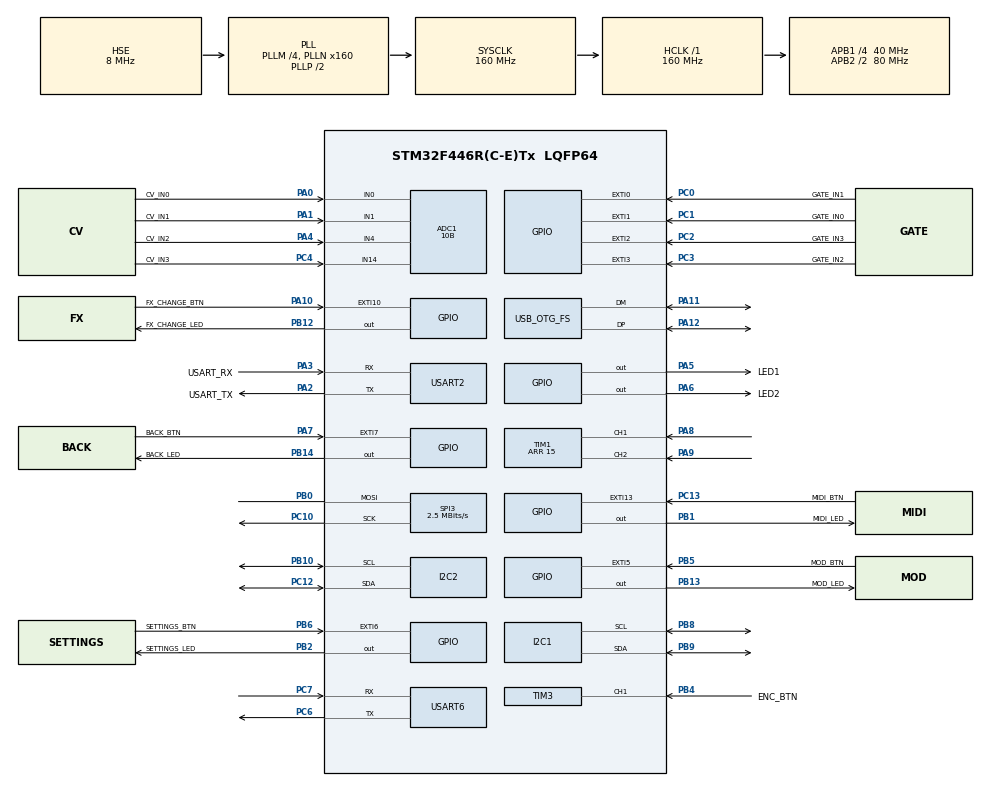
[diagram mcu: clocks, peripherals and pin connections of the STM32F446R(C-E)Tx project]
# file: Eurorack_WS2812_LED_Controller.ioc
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ADC1.Channel-0\#ChannelRegularConversion=ADC_CHANNEL_0
ADC1.Channel-1\#ChannelRegularConversion=ADC_CHANNEL_1
ADC1.Channel-2\#ChannelRegularConversion=ADC_CHANNEL_4
ADC1.Channel-4\#ChannelRegularConversion=ADC_CHANNEL_14
ADC1.EOCSelection=ADC_EOC_SINGLE_CONV
ADC1.NbrOfConversion=4
ADC1.NbrOfConversionFlag=1
ADC1.Rank-0\#ChannelRegularConversion=1
ADC1.Rank-1\#ChannelRegularConversion=2
ADC1.Rank-2\#ChannelRegularConversion=3
ADC1.Rank-4\#ChannelRegularConversion=4
ADC1.Resolution=ADC_RESOLUTION_10B
ADC1.SamplingTime-0\#ChannelRegularConversion=ADC_SAMPLETIME_84CYCLES
ADC1.SamplingTime-1\#ChannelRegularConversion=ADC_SAMPLETIME_84CYCLES
ADC1.SamplingTime-2\#ChannelRegularConversion=ADC_SAMPLETIME_84CYCLES
ADC1.SamplingTime-4\#ChannelRegularConversion=ADC_SAMPLETIME_84CYCLES
ADC1.ScanConvMode=ENABLE
ADC1.master=1
Dma.ADC1.1.Direction=DMA_PERIPH_TO_MEMORY
Dma.ADC1.1.FIFOMode=DMA_FIFOMODE_DISABLE
Dma.ADC1.1.Instance=DMA2_Stream0
Dma.ADC1.1.MemDataAlignment=DMA_MDATAALIGN_HALFWORD
Dma.ADC1.1.MemInc=DMA_MINC_ENABLE
Dma.ADC1.1.Mode=DMA_NORMAL
Dma.ADC1.1.PeriphDataAlignment=DMA_PDATAALIGN_HALFWORD
Dma.ADC1.1.PeriphInc=DMA_PINC_DISABLE
Dma.ADC1.1.Priority=DMA_PRIORITY_LOW
Dma.Request0=SPI3_TX
Dma.Request1=ADC1
Dma.SPI3_TX.0.Direction=DMA_MEMORY_TO_PERIPH
Dma.SPI3_TX.0.FIFOMode=DMA_FIFOMODE_DISABLE
Dma.SPI3_TX.0.Instance=DMA1_Stream5
Dma.SPI3_TX.0.MemDataAlignment=DMA_MDATAALIGN_BYTE
Dma.SPI3_TX.0.MemInc=DMA_MINC_ENABLE
Dma.SPI3_TX.0.Mode=DMA_NORMAL
Dma.SPI3_TX.0.PeriphDataAlignment=DMA_PDATAALIGN_BYTE
Dma.SPI3_TX.0.PeriphInc=DMA_PINC_DISABLE
Dma.SPI3_TX.0.Priority=DMA_PRIORITY_LOW
I2C1.I2C_Mode=I2C_Fast
Mcu.Family=STM32F4
Mcu.Name=STM32F446R(C-E)Tx
Mcu.Package=LQFP64
NVIC.ADC_IRQn=true\:0\:0\:false\:false\:true\:true\:true\:true
NVIC.DMA1_Stream5_IRQn=true\:0\:0\:false\:false\:true\:false\:true\:true
NVIC.DMA2_Stream0_IRQn=true\:0\:0\:false\:false\:true\:false\:true\:true
NVIC.EXTI0_IRQn=true\:0\:0\:false\:false\:true\:true\:true\:true
NVIC.EXTI15_10_IRQn=true\:0\:0\:false\:false\:true\:true\:true\:true
NVIC.EXTI1_IRQn=true\:0\:0\:false\:false\:true\:true\:true\:true
NVIC.EXTI2_IRQn=true\:0\:0\:false\:false\:true\:true\:true\:true
NVIC.EXTI3_IRQn=true\:0\:0\:false\:false\:true\:true\:true\:true
NVIC.EXTI9_5_IRQn=true\:0\:0\:false\:false\:true\:true\:true\:true
NVIC.PriorityGroup=NVIC_PRIORITYGROUP_0
NVIC.TIM1_CC_IRQn=true\:0\:0\:false\:false\:true\:true\:true\:true
NVIC.TIM3_IRQn=true\:0\:0\:false\:false\:true\:true\:true\:true
NVIC.TIM6_DAC_IRQn=true\:0\:0\:false\:false\:true\:true\:true\:true
NVIC.TIM7_IRQn=true\:0\:0\:false\:false\:true\:true\:true\:true
NVIC.USART2_IRQn=true\:0\:0\:false\:false\:true\:true\:true\:true
PA0-WKUP.GPIO_Label=CV_IN0
PA0-WKUP.Signal=ADCx_IN0
PA1.GPIO_Label=CV_IN1
PA1.Signal=ADCx_IN1
PA10.GPIO_Label=FX_CHANGE_BTN
PA10.GPIO_ModeDefaultEXTI=GPIO_MODE_IT_RISING_FALLING
PA10.GPIO_PuPd=GPIO_PULLUP
PA10.Signal=GPXTI10
PA11.Mode=Device_Only
PA11.Signal=USB_OTG_FS_DM
PA12.Mode=Device_Only
PA12.Signal=USB_OTG_FS_DP
PA13.GPIO_Label=TMS
PA13.Mode=Serial_Wire
PA13.Signal=SYS_JTMS-SWDIO
PA14.GPIO_Label=TCK
PA14.Mode=Serial_Wire
PA14.Signal=SYS_JTCK-SWCLK
PA2.GPIO_Label=USART_TX
PA2.Mode=Asynchronous
PA2.Signal=USART2_TX
PA3.GPIO_Label=USART_RX
PA3.Mode=Asynchronous
PA3.Signal=USART2_RX
PA4.GPIO_Label=CV_IN2
PA4.Signal=ADCx_IN4
PA5.GPIO_Label=LED1
PA5.GPIO_PuPd=GPIO_NOPULL
PA5.Signal=GPIO_Output
PA6.GPIO_Label=LED2
PA6.GPIO_PuPd=GPIO_NOPULL
PA6.Signal=GPIO_Output
PA7.GPIO_Label=BACK_BTN
PA7.GPIO_ModeDefaultEXTI=GPIO_MODE_IT_FALLING
PA7.GPIO_PuPd=GPIO_PULLUP
PA7.Signal=GPXTI7
PA8.Signal=S_TIM1_CH1
PA9.Signal=S_TIM1_CH2
PB0.Mode=Simplex_Bidirectional_Master
PB0.Signal=SPI3_MOSI
PB1.GPIO_Label=MIDI_LED
PB1.Signal=GPIO_Output
PB10.Mode=I2C
PB10.Signal=I2C2_SCL
PB12.GPIO_Label=FX_CHANGE_LED
PB12.Signal=GPIO_Output
PB13.GPIO_Label=MOD_LED
PB13.Signal=GPIO_Output
PB14.GPIO_Label=BACK_LED
PB14.Signal=GPIO_Output
PB2.GPIO_Label=SETTINGS_LED
PB2.Signal=GPIO_Output
PB3.GPIO_Label=SWO
PB3.Signal=SYS_JTDO-SWO
PB4.GPIO_Label=ENC_BTN
PB4.GPIO_PuPd=GPIO_PULLUP
PB4.Signal=S_TIM3_CH1
PB5.GPIO_Label=MOD_BTN
PB5.GPIO_ModeDefaultEXTI=GPIO_MODE_IT_FALLING
PB5.GPIO_PuPd=GPIO_PULLUP
PB5.Signal=GPXTI5
PB6.GPIO_Label=SETTINGS_BTN
PB6.GPIO_ModeDefaultEXTI=GPIO_MODE_IT_FALLING
PB6.GPIO_PuPd=GPIO_PULLUP
PB6.Signal=GPXTI6
PB8.Mode=I2C
PB8.Signal=I2C1_SCL
PB9.Mode=I2C
PB9.Signal=I2C1_SDA
PC0.GPIO_Label=GATE_IN1
PC0.GPIO_ModeDefaultEXTI=GPIO_MODE_IT_RISING
PC0.GPIO_PuPd=GPIO_PULLDOWN
PC0.Signal=GPXTI0
PC1.GPIO_Label=GATE_IN0
PC1.GPIO_ModeDefaultEXTI=GPIO_MODE_IT_RISING
PC1.GPIO_PuPd=GPIO_PULLDOWN
PC1.Signal=GPXTI1
PC10.Mode=Simplex_Bidirectional_Master
PC10.Signal=SPI3_SCK
PC12.Mode=I2C
PC12.Signal=I2C2_SDA
PC13.GPIO_Label=MIDI_BTN
PC13.GPIO_ModeDefaultEXTI=GPIO_MODE_IT_FALLING
PC13.GPIO_PuPd=GPIO_PULLUP
PC13.Signal=GPXTI13
PC14-OSC32_IN.Mode=LSE-External-Oscillator
PC14-OSC32_IN.Signal=RCC_OSC32_IN
PC15-OSC32_OUT.Mode=LSE-External-Oscillator
PC15-OSC32_OUT.Signal=RCC_OSC32_OUT
PC2.GPIO_Label=GATE_IN3
PC2.GPIO_ModeDefaultEXTI=GPIO_MODE_IT_RISING
PC2.GPIO_PuPd=GPIO_PULLDOWN
PC2.Signal=GPXTI2
PC3.GPIO_Label=GATE_IN2
PC3.GPIO_ModeDefaultEXTI=GPIO_MODE_IT_RISING
PC3.GPIO_PuPd=GPIO_PULLDOWN
PC3.Signal=GPXTI3
PC4.GPIO_Label=CV_IN3
PC4.Signal=ADCx_IN14
PC6.Mode=Asynchronous
PC6.Signal=USART6_TX
PC7.Mode=Asynchronous
PC7.Signal=USART6_RX
PH0-OSC_IN.Mode=HSE-External-Oscillator
PH0-OSC_IN.Signal=RCC_OSC_IN
PH1-OSC_OUT.Mode=HSE-External-Oscillator
PH1-OSC_OUT.Signal=RCC_OSC_OUT
ProjectManager.HeapSize=0x200
ProjectManager.StackSize=0x400
ProjectManager.TargetToolchain=STM32CubeIDE
RCC.48MHZClocksFreq_Value=84000000
RCC.AHBFreq_Value=160000000
RCC.APB1CLKDivider=RCC_HCLK_DIV4
RCC.APB1Freq_Value=40000000
RCC.APB1TimFreq_Value=80000000
RCC.APB2CLKDivider=RCC_HCLK_DIV2
RCC.APB2Freq_Value=80000000
RCC.APB2TimFreq_Value=160000000
RCC.CortexFreq_Value=160000000
RCC.FLatency-AdvancedSettings=FLASH_LATENCY_5
RCC.HCLKFreq_Value=160000000
RCC.HSE_VALUE=8000000
RCC.HSI_VALUE=16000000
RCC.PLLM=4
RCC.PLLN=160
RCC.PLLSAIM=4
RCC.PLLSAIN=96
RCC.PLLSAIP=RCC_PLLSAIP_DIV4
RCC.SYSCLKFreq_VALUE=160000000
RCC.SYSCLKSource=RCC_SYSCLKSOURCE_PLLCLK
RCC.USBCLockSelection=RCC_CLK48CLKSOURCE_PLLSAIP
RCC.USBFreq_Value=48000000
RCC.VCOOutputFreq_Value=320000000
SH.ADCx_IN0.0=ADC1_IN0,IN0
SH.ADCx_IN1.0=ADC1_IN1,IN1
SH.ADCx_IN14.0=ADC1_IN14,IN14
SH.ADCx_IN4.0=ADC1_IN4,IN4
SH.S_TIM1_CH1.0=TIM1_CH1,Encoder_Interface
SH.S_TIM1_CH2.0=TIM1_CH2,Encoder_Interface
SH.S_TIM3_CH1.0=TIM3_CH1,TriggerSource_TI1FP1
SPI3.BaudRatePrescaler=SPI_BAUDRATEPRESCALER_16
SPI3.CalculateBaudRate=2.5 MBits/s
SPI3.Direction=SPI_DIRECTION_1LINE
SPI3.Mode=SPI_MODE_MASTER
SPI3.VirtualType=VM_MASTER
TIM1.AutoReloadPreload=TIM_AUTORELOAD_PRELOAD_ENABLE
TIM1.EncoderMode=TIM_ENCODERMODE_TI12
TIM1.IC1Filter=10
TIM1.IC1Polarity=TIM_ICPOLARITY_FALLING
TIM1.IC2Filter=10
TIM1.IC2Polarity=TIM_ICPOLARITY_FALLING
TIM1.Period=15
TIM3.Period=1000-1
TIM3.Prescaler=80-1
TIM3.Slave_TriggerFilter=10
TIM3.Slave_TriggerPolarity=TIM_TRIGGERPOLARITY_FALLING
TIM3.TIM_MasterOutputTrigger=TIM_TRGO_RESET
TIM6.AutoReloadPreload=TIM_AUTORELOAD_PRELOAD_ENABLE
TIM6.Period=10000-1
TIM6.Prescaler=8000-1
TIM7.AutoReloadPreload=TIM_AUTORELOAD_PRELOAD_ENABLE
TIM7.Period=100-1
TIM7.Prescaler=8000-1
USART2.VirtualMode=VM_ASYNC
USART6.VirtualMode=VM_ASYNC
USB_OTG_FS.VirtualMode=Device_Only
VP_TIM3_VS_ControllerModeTrigger.Mode=Trigger Mode
VP_TIM3_VS_OPM.Mode=OPM_bit
VP_TIM6_VS_ClockSourceINT.Mode=Enable_Timer
VP_TIM7_VS_ClockSourceINT.Mode=Enable_Timer
board=NUCLEO-F446RE

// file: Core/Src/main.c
/* USER CODE BEGIN Header */
/**
  ******************************************************************************
  * @file           : main.c
  * @brief          : Main program body
  ******************************************************************************
  * @attention
  *
  * Copyright (c) 2024 STMicroelectronics.
  * All rights reserved.
  *
  * This software is licensed under terms that can be found in the LICENSE file
  * in the root directory of this software component.
  * If no LICENSE file comes with this software, it is provided AS-IS.
  *
  ******************************************************************************
  */
/* USER CODE END Header */
#include "main.h"

/* USER CODE BEGIN Includes */
#include "../../Drivers/ssd1306/ssd1306.h"
#include <stdbool.h>
#include <stdio.h>
#include "WS2812.h"
//#include "WS2812FX.hpp"
#include "mainWhile.hpp"
/* USER CODE END Includes */

ADC_HandleTypeDef hadc1;
DMA_HandleTypeDef hdma_adc1;

I2C_HandleTypeDef hi2c1;
I2C_HandleTypeDef hi2c2;

SPI_HandleTypeDef hspi3;
DMA_HandleTypeDef hdma_spi3_tx;

TIM_HandleTypeDef htim1;
TIM_HandleTypeDef htim3;
TIM_HandleTypeDef htim6;
TIM_HandleTypeDef htim7;

UART_HandleTypeDef huart2;
UART_HandleTypeDef huart6;

PCD_HandleTypeDef hpcd_USB_OTG_FS;

/* USER CODE BEGIN PV */
char OLED_buffer[30];
uint16_t enc_count = 0;
uint16_t enc_count_prev = 0;

uint8_t effectIndex = 0;
uint8_t menuItemIndex = 0;
uint8_t selectedModSourceIndex = 0;
uint8_t HSVPickerIndex = 0;

menuLayer menu_layer = SIMPLE_PARAMETER_ROOT;
uint8_t encoderLastDirectionForward = 0;

#define UART_TRANSMIT_BUFFER_LENGTH 25
uint8_t UARTTransmitBuffer[UART_TRANSMIT_BUFFER_LENGTH];

#ifdef ENABLE_PERFORMANCE_MONITOR
volatile uint16_t WS2812FramesSent;
#endif

float cpuUsage = 0.0f;
volatile bool overrunDetected = false;

uint16_t rawADCData[NUM_CV_INPUTS];

// Software solution to multiple triggering problem on gate EXTI inputs
// Better PCB design would help this too
// This parameter might be nice to have in the settings menu
#define GATE_LIMIT_FRAMES 10
uint16_t frames_since_last_trigger[NUM_GATE_INPUTS] = {0, 0, 0, 0};
/* USER CODE END PV */

void SystemClock_Config(void);
static void MX_GPIO_Init(void);
static void MX_DMA_Init(void);
static void MX_USART2_UART_Init(void);
static void MX_I2C1_Init(void);
static void MX_TIM6_Init(void);
static void MX_SPI3_Init(void);
static void MX_TIM3_Init(void);
static void MX_TIM1_Init(void);
static void MX_ADC1_Init(void);
static void MX_TIM7_Init(void);
static void MX_USB_OTG_FS_PCD_Init(void);
static void MX_I2C2_Init(void);
static void MX_USART6_UART_Init(void);

/* USER CODE BEGIN 0 */
//TODO: Add a ping-pong buffer for ADC values so we don't have to keep starting conversion and DMA
//void HAL_ADC_ConvCpltCallback(ADC_HandleTypeDef *hadc)
//{
//	// >> 3 to scale to comfortable range
//	WS2812_SetBackgroundColor(rawADCData[0] >> 3, rawADCData[1] >> 3, rawADCData[2] >> 3);
//}

// Detect encoder button presses
// Had to use a timer for this because this button was really noisy
void HAL_TIM_OC_DelayElapsedCallback(TIM_HandleTypeDef *htim)
{
	if(htim == &htim3 && htim->Channel == HAL_TIM_ACTIVE_CHANNEL_1)
	{
		// Menu layer transitions for simple and color menus
		switch(menu_layer)
		{
			case SIMPLE_PARAMETER_ROOT:
				menu_layer = SIMPLE_PARAMETER_VALUE_SELECTED;
				break;
			case SIMPLE_PARAMETER_VALUE_SELECTED:
				menu_layer = SIMPLE_PARAMETER_ROOT;
				break;
			case COLOR_PALETTE_ROOT:
				menu_layer = HSV_PICKER_ROOT;
				break;
			case HSV_PICKER_ROOT:
				menu_layer = HSV_PICKER_VALUE_SELECTED;
				break;
			case HSV_PICKER_VALUE_SELECTED:
				menu_layer = HSV_PICKER_ROOT;
				break;
			case MOD_MATRIX_ROOT:
				menu_layer = MOD_MATRIX_DESTINATION_SELECTED;
				break;
			case MOD_MATRIX_DESTINATION_SELECTED:
				menu_layer = MOD_MATRIX_AMOUNT_SELECTED;
				break;
			case MOD_MATRIX_AMOUNT_SELECTED:
				menu_layer = MOD_MATRIX_DESTINATION_SELECTED;
				break;
			case SETTINGS_ROOT:
				menu_layer = SETTINGS_VALUE_SELECTED;
				break;
			case SETTINGS_VALUE_SELECTED:
				menu_layer = SETTINGS_ROOT;
				break;
			default:
				break;
		}

		updateMenuC();
	}
}

void HAL_GPIO_EXTI_Callback(uint16_t GPIO_Pin)
{
	switch(GPIO_Pin)
	{
		// Handle gate inputs
		case GATE_IN0_Pin:
			if(frames_since_last_trigger[0] >= GATE_LIMIT_FRAMES)
			{
				gateInput0HighCallbackC();
			}
			frames_since_last_trigger[0] = 0;
			break;
		case GATE_IN1_Pin:
			if(frames_since_last_trigger[1] >= GATE_LIMIT_FRAMES)
			{
				gateInput1HighCallbackC();
			}
			frames_since_last_trigger[1] = 0;
			break;
		case GATE_IN2_Pin:
			if(frames_since_last_trigger[2] >= GATE_LIMIT_FRAMES)
			{
				gateInput2HighCallbackC();
			}
			frames_since_last_trigger[2] = 0;
			break;
		case GATE_IN3_Pin:
			if(frames_since_last_trigger[3] >= GATE_LIMIT_FRAMES)
			{
				gateInput3HighCallbackC();
			}
			frames_since_last_trigger[3] = 0;
			break;

		// Handle front panel buttons
		case FX_CHANGE_BTN_Pin:
			menu_layer = SIMPLE_PARAMETER_ROOT;
			updateMenuC();
			break;
		case SETTINGS_BTN_Pin:
			if(menu_layer != SETTINGS_ROOT)
			{
				menuItemIndex = 0;
				menu_layer = SETTINGS_ROOT;
				updateMenuC();
			}
			break;
		case BACK_BTN_Pin:
			//TODO: Find better solution for this when more state transitions require the cursor to remain in its current position
			if(menu_layer != MOD_MATRIX_DESTINATION_SELECTED)
			{
				// Reset cursor position
				menuItemIndex = 0;
			}

			switch(menu_layer)
			{
				case SIMPLE_PARAMETER_ROOT:
					menu_layer = COLOR_PALETTE_ROOT;
					break;
				case SETTINGS_ROOT:
				case SETTINGS_VALUE_SELECTED:
				case SIMPLE_PARAMETER_VALUE_SELECTED:
				case COLOR_PALETTE_ROOT:
					menu_layer = SIMPLE_PARAMETER_ROOT;
					break;
				case HSV_PICKER_ROOT:
					menu_layer = COLOR_PALETTE_ROOT;
					break;
				case HSV_PICKER_VALUE_SELECTED:
					menu_layer = HSV_PICKER_ROOT;
					break;
				case MOD_MATRIX_ROOT:
					menu_layer = SIMPLE_PARAMETER_ROOT;
					break;
				case MOD_MATRIX_DESTINATION_SELECTED:
					// Assign currently selected destination to this mod slot
					updateSelectedModDestinationC();

					menu_layer = MOD_MATRIX_AMOUNT_SELECTED;
					break;
				case MOD_MATRIX_AMOUNT_SELECTED:
					menu_layer = MOD_MATRIX_DESTINATION_SELECTED;
					break;
				default:
					break;
			}
			updateMenuC();
			break;
		case MOD_BTN_Pin:
			if(menu_layer != MOD_MATRIX_ROOT)
			{
				menu_layer = MOD_MATRIX_ROOT;
				updateMenuC();
			}
			break;
	}
}

void HAL_TIM_IC_CaptureCallback(TIM_HandleTypeDef * htim)
{
	// Handle encoder movement
	if(htim == &htim1)
	{
		enc_count_prev = enc_count;
		enc_count = htim->Instance->CNT >> 2;

		encoderLastDirectionForward = !(htim->Instance->CR1 & TIM_CR1_DIR);

		// Check if encoder moved
		if(enc_count != enc_count_prev)
		{
			// FX change button held
			if(HAL_GPIO_ReadPin(FX_CHANGE_BTN_GPIO_Port, FX_CHANGE_BTN_Pin) == GPIO_PIN_RESET)
			{
				if(encoderLastDirectionForward)
				{
					effectIndex = (effectIndex < WS2812FX_NUM_EFFECTS - 1) ? effectIndex + 1 : WS2812FX_NUM_EFFECTS - 1;
				}
				else
				{
					effectIndex = (effectIndex > 0) ? effectIndex - 1 : 0;
				}
			}
			else
			{
				// Trigger change based on current menu_layer
				switch(menu_layer)
				{
					case SIMPLE_PARAMETER_ROOT:
					case COLOR_PALETTE_ROOT:
					case HSV_PICKER_ROOT:
					case MOD_MATRIX_ROOT:
					case MOD_MATRIX_DESTINATION_SELECTED:
					case SETTINGS_ROOT:
						// Use last encoder movement direction to determine whether to increment or decrement the current value
						if(encoderLastDirectionForward)
						{
							incrementMenuItemIndexC();
						}
						else
						{
							decrementMenuItemIndexC();
						}
						break;
					case SIMPLE_PARAMETER_VALUE_SELECTED:
					case MOD_MATRIX_AMOUNT_SELECTED:
					case SETTINGS_VALUE_SELECTED:
						if(encoderLastDirectionForward)
						{
							incrementValueC(effectIndex, menuItemIndex, 0);
						}
						else
						{
							decrementValueC(effectIndex, menuItemIndex, 0);
						}

						break;
					case HSV_PICKER_VALUE_SELECTED:
						if(encoderLastDirectionForward)
						{
							incrementValueC(effectIndex, menuItemIndex, HSVPickerIndex);
						}
						else
						{
							decrementValueC(effectIndex, menuItemIndex, HSVPickerIndex);
						}
						break;
				}
			}

			updateMenuC();
		}
	}
}

void HAL_TIM_PeriodElapsedCallback(TIM_HandleTypeDef *htim)
{
	if(htim == &htim7)
	{
		// Skip rendering this frame if the last one took too long
		if(overrunDetected)
		{
			// Consume overrun and test again
			// Consecutive overruns are possible if updateEffectC is really slow
			overrunDetected = (htim->Instance->SR != 0);
			return;
		}

		// Actual render (update) step
		updateEffectC();

		// Update frame counters for gate inputs
		// Used to prevent double triggers
		for(int i = 0; i < NUM_GATE_INPUTS; i++)
		{
			if(frames_since_last_trigger[i] < GATE_LIMIT_FRAMES)
			{
				frames_since_last_trigger[i]++;
			}
		}

		// Detect overruns after updating effect
		overrunDetected = (htim->Instance->SR != 0);

#ifdef ENABLE_PERFORMANCE_MONITOR
		cpuUsage = (((float)htim->Instance->CNT) / htim->Instance->ARR) * 100.0f;
#endif
	}
#ifdef ENABLE_PERFORMANCE_MONITOR
	// FPS timer
	else if(htim == &htim6)
	{
		// String operations are too slow to have in an ISR, even if preempted by a higher priority interrupt
		sprintf((char *)UARTTransmitBuffer, "%d\n", WS2812FramesSent);

//		HAL_UART_Transmit_IT(&huart2, UARTTransmitBuffer, UART_TRANSMIT_BUFFER_LENGTH);

		// Draw current FPS
		ssd1306_SetCursor(100, 0);
		ssd1306_WriteString((char *)UARTTransmitBuffer, Font_6x8, White);

		if(!overrunDetected)
		{
			// Draw current CPU usage
			sprintf((char *)UARTTransmitBuffer, "%-4.0f", cpuUsage);
		}
		else
		{
			sprintf((char *)UARTTransmitBuffer, "OVER");
		}

		ssd1306_SetCursor(100, 9);
		ssd1306_WriteString((char *)UARTTransmitBuffer, Font_6x8, White);

		ssd1306_UpdateScreen();

		// Reset frame counter
		WS2812FramesSent = 0;
	}
#endif
}

/* USER CODE END 0 */

int main(void)
{

  /* MCU Configuration--------------------------------------------------------*/

  /* Reset of all peripherals, Initializes the Flash interface and the Systick. */
  HAL_Init();

  /* Configure the system clock */
  SystemClock_Config();

  /* Initialize all configured peripherals */
  MX_GPIO_Init();
  MX_DMA_Init();
  MX_USART2_UART_Init();
  MX_I2C1_Init();
  MX_TIM6_Init();
  MX_SPI3_Init();
  MX_TIM3_Init();
  MX_TIM1_Init();
  MX_ADC1_Init();
  MX_TIM7_Init();
  MX_USB_OTG_FS_PCD_Init();
  MX_I2C2_Init();
  MX_USART6_UART_Init();
  /* USER CODE BEGIN 2 */

  // Initialize OLED
  ssd1306_Init();
  ssd1306_UpdateScreen();

  ssd1306_SetCursor(0, 0);
  ssd1306_WriteString("LED control", Font_11x18, White);

  ssd1306_UpdateScreen();

  // Start encoder timer
  HAL_TIM_Encoder_Start_IT(&htim1, TIM_CHANNEL_ALL);

  // Start debounce timer for encoder button
  HAL_TIM_OnePulse_Start_IT(&htim3, TIM_CHANNEL_1);

  // Initialize all LEDs to off
  WS2812_ClearLEDs();
  WS2812_SetBackgroundColor(0, 0, 0);
  WS2812_SendAll();

#ifdef ENABLE_PERFORMANCE_MONITOR
  HAL_TIM_Base_Start_IT(&htim6);
#endif

  // Frame timer is started in mainWhiteCpp
  /* USER CODE END 2 */

  /* Infinite loop */
  /* USER CODE BEGIN WHILE */
  while (1)
  {
	  mainWhileC();
    /* USER CODE END WHILE */

  }
}

void SystemClock_Config(void)
{
  RCC_OscInitTypeDef RCC_OscInitStruct = {0};
  RCC_ClkInitTypeDef RCC_ClkInitStruct = {0};

  /** Configure the main internal regulator output voltage
  */
  __HAL_RCC_PWR_CLK_ENABLE();
  __HAL_PWR_VOLTAGESCALING_CONFIG(PWR_REGULATOR_VOLTAGE_SCALE1);

  /** Initializes the RCC Oscillators according to the specified parameters
  * in the RCC_OscInitTypeDef structure.
  */
  RCC_OscInitStruct.OscillatorType = RCC_OSCILLATORTYPE_HSE;
  RCC_OscInitStruct.HSEState = RCC_HSE_ON;
  RCC_OscInitStruct.PLL.PLLState = RCC_PLL_ON;
  RCC_OscInitStruct.PLL.PLLSource = RCC_PLLSOURCE_HSE;
  RCC_OscInitStruct.PLL.PLLM = 4;
  RCC_OscInitStruct.PLL.PLLN = 160;
  RCC_OscInitStruct.PLL.PLLP = RCC_PLLP_DIV2;
  RCC_OscInitStruct.PLL.PLLQ = 2;
  RCC_OscInitStruct.PLL.PLLR = 2;
  if (HAL_RCC_OscConfig(&RCC_OscInitStruct) != HAL_OK)
  {
    Error_Handler();
  }

  /** Initializes the CPU, AHB and APB buses clocks
  */
  RCC_ClkInitStruct.ClockType = RCC_CLOCKTYPE_HCLK|RCC_CLOCKTYPE_SYSCLK
                              |RCC_CLOCKTYPE_PCLK1|RCC_CLOCKTYPE_PCLK2;
  RCC_ClkInitStruct.SYSCLKSource = RCC_SYSCLKSOURCE_PLLCLK;
  RCC_ClkInitStruct.AHBCLKDivider = RCC_SYSCLK_DIV1;
  RCC_ClkInitStruct.APB1CLKDivider = RCC_HCLK_DIV4;
  RCC_ClkInitStruct.APB2CLKDivider = RCC_HCLK_DIV2;

  if (HAL_RCC_ClockConfig(&RCC_ClkInitStruct, FLASH_LATENCY_5) != HAL_OK)
  {
    Error_Handler();
  }
}

static void MX_ADC1_Init(void)
{

  ADC_ChannelConfTypeDef sConfig = {0};

  /** Configure the global features of the ADC (Clock, Resolution, Data Alignment and number of conversion)
  */
  hadc1.Instance = ADC1;
  hadc1.Init.ClockPrescaler = ADC_CLOCK_SYNC_PCLK_DIV4;
  hadc1.Init.Resolution = ADC_RESOLUTION_10B;
  hadc1.Init.ScanConvMode = ENABLE;
  hadc1.Init.ContinuousConvMode = DISABLE;
  hadc1.Init.DiscontinuousConvMode = DISABLE;
  hadc1.Init.ExternalTrigConvEdge = ADC_EXTERNALTRIGCONVEDGE_NONE;
  hadc1.Init.ExternalTrigConv = ADC_SOFTWARE_START;
  hadc1.Init.DataAlign = ADC_DATAALIGN_RIGHT;
  hadc1.Init.NbrOfConversion = 4;
  hadc1.Init.DMAContinuousRequests = DISABLE;
  hadc1.Init.EOCSelection = ADC_EOC_SINGLE_CONV;
  if (HAL_ADC_Init(&hadc1) != HAL_OK)
  {
    Error_Handler();
  }

  /** Configure for the selected ADC regular channel its corresponding rank in the sequencer and its sample time.
  */
  sConfig.Channel = ADC_CHANNEL_0;
  sConfig.Rank = 1;
  sConfig.SamplingTime = ADC_SAMPLETIME_84CYCLES;
  if (HAL_ADC_ConfigChannel(&hadc1, &sConfig) != HAL_OK)
  {
    Error_Handler();
  }

  /** Configure for the selected ADC regular channel its corresponding rank in the sequencer and its sample time.
  */
  sConfig.Channel = ADC_CHANNEL_1;
  sConfig.Rank = 2;
  if (HAL_ADC_ConfigChannel(&hadc1, &sConfig) != HAL_OK)
  {
    Error_Handler();
  }

  /** Configure for the selected ADC regular channel its corresponding rank in the sequencer and its sample time.
  */
  sConfig.Channel = ADC_CHANNEL_4;
  sConfig.Rank = 3;
  if (HAL_ADC_ConfigChannel(&hadc1, &sConfig) != HAL_OK)
  {
    Error_Handler();
  }

  /** Configure for the selected ADC regular channel its corresponding rank in the sequencer and its sample time.
  */
  sConfig.Channel = ADC_CHANNEL_14;
  sConfig.Rank = 4;
  if (HAL_ADC_ConfigChannel(&hadc1, &sConfig) != HAL_OK)
  {
    Error_Handler();
  }

}

static void MX_I2C1_Init(void)
{

  hi2c1.Instance = I2C1;
  hi2c1.Init.ClockSpeed = 400000;
  hi2c1.Init.DutyCycle = I2C_DUTYCYCLE_2;
  hi2c1.Init.OwnAddress1 = 0;
  hi2c1.Init.AddressingMode = I2C_ADDRESSINGMODE_7BIT;
  hi2c1.Init.DualAddressMode = I2C_DUALADDRESS_DISABLE;
  hi2c1.Init.OwnAddress2 = 0;
  hi2c1.Init.GeneralCallMode = I2C_GENERALCALL_DISABLE;
  hi2c1.Init.NoStretchMode = I2C_NOSTRETCH_DISABLE;
  if (HAL_I2C_Init(&hi2c1) != HAL_OK)
  {
    Error_Handler();
  }

}

static void MX_I2C2_Init(void)
{

  hi2c2.Instance = I2C2;
  hi2c2.Init.ClockSpeed = 100000;
  hi2c2.Init.DutyCycle = I2C_DUTYCYCLE_2;
  hi2c2.Init.OwnAddress1 = 0;
  hi2c2.Init.AddressingMode = I2C_ADDRESSINGMODE_7BIT;
  hi2c2.Init.DualAddressMode = I2C_DUALADDRESS_DISABLE;
  hi2c2.Init.OwnAddress2 = 0;
  hi2c2.Init.GeneralCallMode = I2C_GENERALCALL_DISABLE;
  hi2c2.Init.NoStretchMode = I2C_NOSTRETCH_DISABLE;
  if (HAL_I2C_Init(&hi2c2) != HAL_OK)
  {
    Error_Handler();
  }

}

static void MX_SPI3_Init(void)
{

  /* SPI3 parameter configuration*/
  hspi3.Instance = SPI3;
  hspi3.Init.Mode = SPI_MODE_MASTER;
  hspi3.Init.Direction = SPI_DIRECTION_1LINE;
  hspi3.Init.DataSize = SPI_DATASIZE_8BIT;
  hspi3.Init.CLKPolarity = SPI_POLARITY_LOW;
  hspi3.Init.CLKPhase = SPI_PHASE_1EDGE;
  hspi3.Init.NSS = SPI_NSS_SOFT;
  hspi3.Init.BaudRatePrescaler = SPI_BAUDRATEPRESCALER_16;
  hspi3.Init.FirstBit = SPI_FIRSTBIT_MSB;
  hspi3.Init.TIMode = SPI_TIMODE_DISABLE;
  hspi3.Init.CRCCalculation = SPI_CRCCALCULATION_DISABLE;
  hspi3.Init.CRCPolynomial = 10;
  if (HAL_SPI_Init(&hspi3) != HAL_OK)
  {
    Error_Handler();
  }

}

static void MX_TIM1_Init(void)
{

  TIM_Encoder_InitTypeDef sConfig = {0};
  TIM_MasterConfigTypeDef sMasterConfig = {0};

  htim1.Instance = TIM1;
  htim1.Init.Prescaler = 0;
  htim1.Init.CounterMode = TIM_COUNTERMODE_UP;
  htim1.Init.Period = 15;
  htim1.Init.ClockDivision = TIM_CLOCKDIVISION_DIV1;
  htim1.Init.RepetitionCounter = 0;
  htim1.Init.AutoReloadPreload = TIM_AUTORELOAD_PRELOAD_ENABLE;
  sConfig.EncoderMode = TIM_ENCODERMODE_TI12;
  sConfig.IC1Polarity = TIM_ICPOLARITY_FALLING;
  sConfig.IC1Selection = TIM_ICSELECTION_DIRECTTI;
  sConfig.IC1Prescaler = TIM_ICPSC_DIV1;
  sConfig.IC1Filter = 10;
  sConfig.IC2Polarity = TIM_ICPOLARITY_FALLING;
  sConfig.IC2Selection = TIM_ICSELECTION_DIRECTTI;
  sConfig.IC2Prescaler = TIM_ICPSC_DIV1;
  sConfig.IC2Filter = 10;
  if (HAL_TIM_Encoder_Init(&htim1, &sConfig) != HAL_OK)
  {
    Error_Handler();
  }
  sMasterConfig.MasterOutputTrigger = TIM_TRGO_RESET;
  sMasterConfig.MasterSlaveMode = TIM_MASTERSLAVEMODE_DISABLE;
  if (HAL_TIMEx_MasterConfigSynchronization(&htim1, &sMasterConfig) != HAL_OK)
  {
    Error_Handler();
  }

}

static void MX_TIM3_Init(void)
{

  TIM_SlaveConfigTypeDef sSlaveConfig = {0};
  TIM_MasterConfigTypeDef sMasterConfig = {0};

  htim3.Instance = TIM3;
  htim3.Init.Prescaler = 80-1;
  htim3.Init.CounterMode = TIM_COUNTERMODE_UP;
  htim3.Init.Period = 1000-1;
  htim3.Init.ClockDivision = TIM_CLOCKDIVISION_DIV1;
  htim3.Init.AutoReloadPreload = TIM_AUTORELOAD_PRELOAD_DISABLE;
  if (HAL_TIM_Base_Init(&htim3) != HAL_OK)
  {
    Error_Handler();
  }
  if (HAL_TIM_OnePulse_Init(&htim3, TIM_OPMODE_SINGLE) != HAL_OK)
  {
    Error_Handler();
  }
  sSlaveConfig.SlaveMode = TIM_SLAVEMODE_TRIGGER;
  sSlaveConfig.InputTrigger = TIM_TS_TI1FP1;
  sSlaveConfig.TriggerPolarity = TIM_TRIGGERPOLARITY_FALLING;
  sSlaveConfig.TriggerFilter = 10;
  if (HAL_TIM_SlaveConfigSynchro(&htim3, &sSlaveConfig) != HAL_OK)
  {
    Error_Handler();
  }
  sMasterConfig.MasterOutputTrigger = TIM_TRGO_RESET;
  sMasterConfig.MasterSlaveMode = TIM_MASTERSLAVEMODE_DISABLE;
  if (HAL_TIMEx_MasterConfigSynchronization(&htim3, &sMasterConfig) != HAL_OK)
  {
    Error_Handler();
  }

}

static void MX_TIM6_Init(void)
{

  TIM_MasterConfigTypeDef sMasterConfig = {0};

  htim6.Instance = TIM6;
  htim6.Init.Prescaler = 8000-1;
  htim6.Init.CounterMode = TIM_COUNTERMODE_UP;
  htim6.Init.Period = 10000-1;
  htim6.Init.AutoReloadPreload = TIM_AUTORELOAD_PRELOAD_ENABLE;
  if (HAL_TIM_Base_Init(&htim6) != HAL_OK)
  {
    Error_Handler();
  }
  sMasterConfig.MasterOutputTrigger = TIM_TRGO_RESET;
  sMasterConfig.MasterSlaveMode = TIM_MASTERSLAVEMODE_DISABLE;
  if (HAL_TIMEx_MasterConfigSynchronization(&htim6, &sMasterConfig) != HAL_OK)
  {
    Error_Handler();
  }

}

static void MX_TIM7_Init(void)
{

  TIM_MasterConfigTypeDef sMasterConfig = {0};

  htim7.Instance = TIM7;
  htim7.Init.Prescaler = 8000-1;
  htim7.Init.CounterMode = TIM_COUNTERMODE_UP;
  htim7.Init.Period = 100-1;
  htim7.Init.AutoReloadPreload = TIM_AUTORELOAD_PRELOAD_ENABLE;
  if (HAL_TIM_Base_Init(&htim7) != HAL_OK)
  {
    Error_Handler();
  }
  sMasterConfig.MasterOutputTrigger = TIM_TRGO_RESET;
  sMasterConfig.MasterSlaveMode = TIM_MASTERSLAVEMODE_DISABLE;
  if (HAL_TIMEx_MasterConfigSynchronization(&htim7, &sMasterConfig) != HAL_OK)
  {
    Error_Handler();
  }

}

static void MX_USART2_UART_Init(void)
{

  huart2.Instance = USART2;
  huart2.Init.BaudRate = 115200;
  huart2.Init.WordLength = UART_WORDLENGTH_8B;
  huart2.Init.StopBits = UART_STOPBITS_1;
  huart2.Init.Parity = UART_PARITY_NONE;
  huart2.Init.Mode = UART_MODE_TX_RX;
  huart2.Init.HwFlowCtl = UART_HWCONTROL_NONE;
  huart2.Init.OverSampling = UART_OVERSAMPLING_16;
  if (HAL_UART_Init(&huart2) != HAL_OK)
  {
    Error_Handler();
  }

}

static void MX_USART6_UART_Init(void)
{

  huart6.Instance = USART6;
  huart6.Init.BaudRate = 115200;
  huart6.Init.WordLength = UART_WORDLENGTH_8B;
  huart6.Init.StopBits = UART_STOPBITS_1;
  huart6.Init.Parity = UART_PARITY_NONE;
  huart6.Init.Mode = UART_MODE_TX_RX;
  huart6.Init.HwFlowCtl = UART_HWCONTROL_NONE;
  huart6.Init.OverSampling = UART_OVERSAMPLING_16;
  if (HAL_UART_Init(&huart6) != HAL_OK)
  {
    Error_Handler();
  }

}

static void MX_USB_OTG_FS_PCD_Init(void)
{

  hpcd_USB_OTG_FS.Instance = USB_OTG_FS;
  hpcd_USB_OTG_FS.Init.dev_endpoints = 6;
  hpcd_USB_OTG_FS.Init.speed = PCD_SPEED_FULL;
  hpcd_USB_OTG_FS.Init.dma_enable = DISABLE;
  hpcd_USB_OTG_FS.Init.phy_itface = PCD_PHY_EMBEDDED;
  hpcd_USB_OTG_FS.Init.Sof_enable = DISABLE;
  hpcd_USB_OTG_FS.Init.low_power_enable = DISABLE;
  hpcd_USB_OTG_FS.Init.lpm_enable = DISABLE;
  hpcd_USB_OTG_FS.Init.vbus_sensing_enable = DISABLE;
  hpcd_USB_OTG_FS.Init.use_dedicated_ep1 = DISABLE;
  if (HAL_PCD_Init(&hpcd_USB_OTG_FS) != HAL_OK)
  {
    Error_Handler();
  }

}

static void MX_DMA_Init(void)
{

  /* DMA controller clock enable */
  __HAL_RCC_DMA1_CLK_ENABLE();
  __HAL_RCC_DMA2_CLK_ENABLE();

  /* DMA interrupt init */
  /* DMA1_Stream5_IRQn interrupt configuration */
  HAL_NVIC_SetPriority(DMA1_Stream5_IRQn, 0, 0);
  HAL_NVIC_EnableIRQ(DMA1_Stream5_IRQn);
  /* DMA2_Stream0_IRQn interrupt configuration */
  HAL_NVIC_SetPriority(DMA2_Stream0_IRQn, 0, 0);
  HAL_NVIC_EnableIRQ(DMA2_Stream0_IRQn);

}

static void MX_GPIO_Init(void)
{
  GPIO_InitTypeDef GPIO_InitStruct = {0};

  /* GPIO Ports Clock Enable */
  __HAL_RCC_GPIOC_CLK_ENABLE();
  __HAL_RCC_GPIOH_CLK_ENABLE();
  __HAL_RCC_GPIOA_CLK_ENABLE();
  __HAL_RCC_GPIOB_CLK_ENABLE();

  /*Configure GPIO pin Output Level */
  HAL_GPIO_WritePin(GPIOA, LED1_Pin|LED2_Pin, GPIO_PIN_RESET);

  /*Configure GPIO pin Output Level */
  HAL_GPIO_WritePin(GPIOB, MIDI_LED_Pin|SETTINGS_LED_Pin|FX_CHANGE_LED_Pin|MOD_LED_Pin
                          |BACK_LED_Pin, GPIO_PIN_RESET);

  /*Configure GPIO pin : MIDI_BTN_Pin */
  GPIO_InitStruct.Pin = MIDI_BTN_Pin;
  GPIO_InitStruct.Mode = GPIO_MODE_IT_FALLING;
  GPIO_InitStruct.Pull = GPIO_PULLUP;
  HAL_GPIO_Init(MIDI_BTN_GPIO_Port, &GPIO_InitStruct);

  /*Configure GPIO pins : GATE_IN1_Pin GATE_IN0_Pin GATE_IN3_Pin GATE_IN2_Pin */
  GPIO_InitStruct.Pin = GATE_IN1_Pin|GATE_IN0_Pin|GATE_IN3_Pin|GATE_IN2_Pin;
  GPIO_InitStruct.Mode = GPIO_MODE_IT_RISING;
  GPIO_InitStruct.Pull = GPIO_PULLDOWN;
  HAL_GPIO_Init(GPIOC, &GPIO_InitStruct);

  /*Configure GPIO pins : LED1_Pin LED2_Pin */
  GPIO_InitStruct.Pin = LED1_Pin|LED2_Pin;
  GPIO_InitStruct.Mode = GPIO_MODE_OUTPUT_PP;
  GPIO_InitStruct.Pull = GPIO_NOPULL;
  GPIO_InitStruct.Speed = GPIO_SPEED_FREQ_LOW;
  HAL_GPIO_Init(GPIOA, &GPIO_InitStruct);

  /*Configure GPIO pin : BACK_BTN_Pin */
  GPIO_InitStruct.Pin = BACK_BTN_Pin;
  GPIO_InitStruct.Mode = GPIO_MODE_IT_FALLING;
  GPIO_InitStruct.Pull = GPIO_PULLUP;
  HAL_GPIO_Init(BACK_BTN_GPIO_Port, &GPIO_InitStruct);

  /*Configure GPIO pins : MIDI_LED_Pin SETTINGS_LED_Pin FX_CHANGE_LED_Pin MOD_LED_Pin
                           BACK_LED_Pin */
  GPIO_InitStruct.Pin = MIDI_LED_Pin|SETTINGS_LED_Pin|FX_CHANGE_LED_Pin|MOD_LED_Pin
                          |BACK_LED_Pin;
  GPIO_InitStruct.Mode = GPIO_MODE_OUTPUT_PP;
  GPIO_InitStruct.Pull = GPIO_NOPULL;
  GPIO_InitStruct.Speed = GPIO_SPEED_FREQ_LOW;
  HAL_GPIO_Init(GPIOB, &GPIO_InitStruct);

  /*Configure GPIO pin : FX_CHANGE_BTN_Pin */
  GPIO_InitStruct.Pin = FX_CHANGE_BTN_Pin;
  GPIO_InitStruct.Mode = GPIO_MODE_IT_RISING_FALLING;
  GPIO_InitStruct.Pull = GPIO_PULLUP;
  HAL_GPIO_Init(FX_CHANGE_BTN_GPIO_Port, &GPIO_InitStruct);

  /*Configure GPIO pins : MOD_BTN_Pin SETTINGS_BTN_Pin */
  GPIO_InitStruct.Pin = MOD_BTN_Pin|SETTINGS_BTN_Pin;
  GPIO_InitStruct.Mode = GPIO_MODE_IT_FALLING;
  GPIO_InitStruct.Pull = GPIO_PULLUP;
  HAL_GPIO_Init(GPIOB, &GPIO_InitStruct);

  /* EXTI interrupt init*/
  HAL_NVIC_SetPriority(EXTI0_IRQn, 0, 0);
  HAL_NVIC_EnableIRQ(EXTI0_IRQn);

  HAL_NVIC_SetPriority(EXTI1_IRQn, 0, 0);
  HAL_NVIC_EnableIRQ(EXTI1_IRQn);

  HAL_NVIC_SetPriority(EXTI2_IRQn, 0, 0);
  HAL_NVIC_EnableIRQ(EXTI2_IRQn);

  HAL_NVIC_SetPriority(EXTI3_IRQn, 0, 0);
  HAL_NVIC_EnableIRQ(EXTI3_IRQn);

  HAL_NVIC_SetPriority(EXTI9_5_IRQn, 0, 0);
  HAL_NVIC_EnableIRQ(EXTI9_5_IRQn);

  HAL_NVIC_SetPriority(EXTI15_10_IRQn, 0, 0);
  HAL_NVIC_EnableIRQ(EXTI15_10_IRQn);

}

void Error_Handler(void)
{
  __disable_irq();
  while (1)
  {
  }
}
